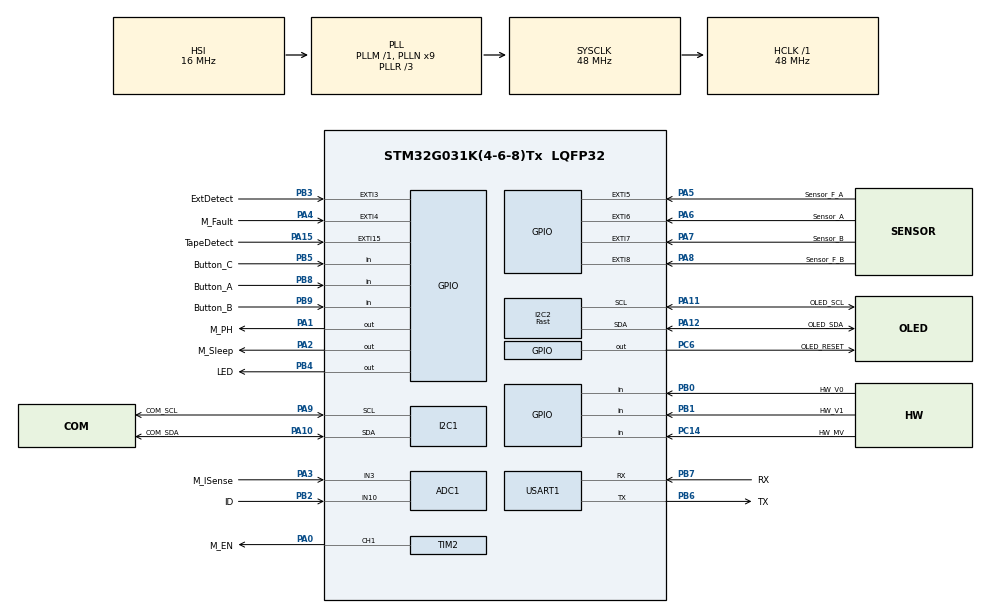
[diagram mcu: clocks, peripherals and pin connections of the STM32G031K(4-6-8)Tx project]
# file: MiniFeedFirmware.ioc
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ADC1.ContinuousConvMode=DISABLE
ADC1.DMAContinuousRequests=ENABLE
ADC1.EOCSelection=ADC_EOC_SEQ_CONV
ADC1.NbrOfConversion=1
ADC1.NbrOfConversionFlag=0
ADC1.SamplingTimeCommon1=ADC_SAMPLETIME_39CYCLES_5
ADC1.SelectedChannel=ADC_CHANNEL_3|ADC_CHANNEL_10|ADC_CHANNEL_TEMPSENSOR|ADC_CHANNEL_VREFINT
ADC1.Sequencer=NOT_FULLY_CONFIGURABLE
ADC1.master=1
CRC.InputDataFormat=CRC_INPUTDATA_FORMAT_WORDS
Dma.ADC1.0.Direction=DMA_PERIPH_TO_MEMORY
Dma.ADC1.0.EventEnable=DISABLE
Dma.ADC1.0.Instance=DMA1_Channel2
Dma.ADC1.0.MemDataAlignment=DMA_MDATAALIGN_WORD
Dma.ADC1.0.MemInc=DMA_MINC_ENABLE
Dma.ADC1.0.Mode=DMA_CIRCULAR
Dma.ADC1.0.PeriphDataAlignment=DMA_PDATAALIGN_WORD
Dma.ADC1.0.PeriphInc=DMA_PINC_DISABLE
Dma.ADC1.0.Polarity=HAL_DMAMUX_REQ_GEN_RISING
Dma.ADC1.0.Priority=DMA_PRIORITY_LOW
Dma.ADC1.0.RequestNumber=1
Dma.ADC1.0.SignalID=NONE
Dma.ADC1.0.SyncEnable=DISABLE
Dma.ADC1.0.SyncPolarity=HAL_DMAMUX_SYNC_NO_EVENT
Dma.ADC1.0.SyncRequestNumber=1
Dma.ADC1.0.SyncSignalID=NONE
Dma.I2C2_TX.1.Direction=DMA_MEMORY_TO_PERIPH
Dma.I2C2_TX.1.EventEnable=DISABLE
Dma.I2C2_TX.1.Instance=DMA1_Channel3
Dma.I2C2_TX.1.MemDataAlignment=DMA_MDATAALIGN_BYTE
Dma.I2C2_TX.1.MemInc=DMA_MINC_ENABLE
Dma.I2C2_TX.1.Mode=DMA_NORMAL
Dma.I2C2_TX.1.PeriphDataAlignment=DMA_PDATAALIGN_BYTE
Dma.I2C2_TX.1.PeriphInc=DMA_PINC_DISABLE
Dma.I2C2_TX.1.Polarity=HAL_DMAMUX_REQ_GEN_RISING
Dma.I2C2_TX.1.Priority=DMA_PRIORITY_LOW
Dma.I2C2_TX.1.RequestNumber=1
Dma.I2C2_TX.1.SignalID=NONE
Dma.I2C2_TX.1.SyncEnable=DISABLE
Dma.I2C2_TX.1.SyncPolarity=HAL_DMAMUX_SYNC_NO_EVENT
Dma.I2C2_TX.1.SyncRequestNumber=1
Dma.I2C2_TX.1.SyncSignalID=NONE
Dma.Request0=ADC1
Dma.Request1=I2C2_TX
I2C1.OwnAddress=0x11
I2C1.Timing=0x20303E5D
I2C2.I2C_Speed_Mode=I2C_Fast
I2C2.Speed=400
I2C2.Timing=0x2010091A
Mcu.Family=STM32G0
Mcu.Name=STM32G031K(4-6-8)Tx
Mcu.Package=LQFP32
NVIC.ADC1_IRQn=true\:0\:0\:false\:false\:true\:true\:true
NVIC.DMA1_Channel2_3_IRQn=true\:0\:0\:false\:false\:true\:false\:true
NVIC.EXTI4_15_IRQn=true\:2\:0\:true\:false\:true\:true\:true
NVIC.I2C1_IRQn=true\:1\:0\:true\:false\:true\:true\:true
NVIC.I2C2_IRQn=true\:0\:0\:false\:false\:true\:true\:true
NVIC.TIM16_IRQn=true\:0\:0\:false\:false\:true\:true\:true
PA0.GPIO_Label=M_EN
PA0.Signal=S_TIM2_CH1
PA1.GPIO_Label=M_PH
PA1.Signal=GPIO_Output
PA10.GPIO_FMPA10=__NULL
PA10.GPIO_Label=COM_SDA
PA10.GPIO_Mode=GPIO_MODE_AF_OD
PA10.GPIO_PuPdOD=GPIO_PULLUP
PA10.GPIO_Speed=GPIO_SPEED_FREQ_LOW
PA10.Mode=I2C
PA10.Signal=I2C1_SDA
PA11\ [PA9].GPIO_Label=OLED_SCL
PA11\ [PA9].Mode=I2C
PA11\ [PA9].Signal=I2C2_SCL
PA12\ [PA10].GPIO_Label=OLED_SDA
PA12\ [PA10].Mode=I2C
PA12\ [PA10].Signal=I2C2_SDA
PA13.GPIO_Label=SWDIO
PA13.Mode=Serial_Wire
PA13.Signal=SYS_SWDIO
PA14-BOOT0.GPIO_Label=SWCLK
PA14-BOOT0.Mode=Serial_Wire
PA14-BOOT0.Signal=SYS_SWCLK
PA15.GPIO_Label=TapeDetect
PA15.GPIO_ModeDefaultEXTI=GPIO_MODE_IT_FALLING
PA15.Signal=GPXTI15
PA2.GPIO_Label=M_Sleep
PA2.GPIO_ModeDefaultOutputPP=GPIO_MODE_OUTPUT_PP
PA2.GPIO_PuPd=GPIO_NOPULL
PA2.PinState=GPIO_PIN_RESET
PA2.Signal=GPIO_Output
PA3.GPIO_Label=M_ISense
PA3.Mode=IN3
PA3.Signal=ADC1_IN3
PA4.GPIO_Label=M_Fault
PA4.GPIO_ModeDefaultEXTI=GPIO_MODE_IT_FALLING
PA4.Signal=GPXTI4
PA5.GPIO_Label=Sensor_F_A
PA5.GPIO_ModeDefaultEXTI=GPIO_MODE_IT_RISING_FALLING
PA5.Signal=GPXTI5
PA6.GPIO_Label=Sensor_A
PA6.GPIO_ModeDefaultEXTI=GPIO_MODE_IT_RISING_FALLING
PA6.Signal=GPXTI6
PA7.GPIO_Label=Sensor_B
PA7.GPIO_ModeDefaultEXTI=GPIO_MODE_IT_RISING_FALLING
PA7.Signal=GPXTI7
PA8.GPIO_Label=Sensor_F_B
PA8.GPIO_ModeDefaultEXTI=GPIO_MODE_IT_RISING_FALLING
PA8.Signal=GPXTI8
PA9.GPIO_FMPA9=__NULL
PA9.GPIO_Label=COM_SCL
PA9.GPIO_Mode=GPIO_MODE_AF_OD
PA9.GPIO_PuPdOD=GPIO_PULLUP
PA9.GPIO_Speed=GPIO_SPEED_FREQ_LOW
PA9.Mode=I2C
PA9.Signal=I2C1_SCL
PB0.GPIO_Label=HW_V0
PB0.GPIO_PuPd=GPIO_PULLUP
PB0.Signal=GPIO_Input
PB1.GPIO_Label=HW_V1
PB1.GPIO_PuPd=GPIO_PULLUP
PB1.Signal=GPIO_Input
PB2.GPIO_Label=ID
PB2.Mode=IN10
PB2.Signal=ADC1_IN10
PB3.GPIO_Label=ExtDetect
PB3.GPIO_ModeDefaultEXTI=GPIO_MODE_IT_FALLING
PB3.Signal=GPXTI3
PB4.GPIO_Label=LED
PB4.PinState=GPIO_PIN_RESET
PB4.Signal=GPIO_Output
PB5.GPIO_Label=Button_C
PB5.Signal=GPIO_Input
PB6.GPIO_Label=TX
PB6.Mode=Asynchronous
PB6.Signal=USART1_TX
PB7.GPIO_Label=RX
PB7.Mode=Asynchronous
PB7.Signal=USART1_RX
PB8.GPIO_Label=Button_A
PB8.Signal=GPIO_Input
PB9.GPIO_Label=Button_B
PB9.Signal=GPIO_Input
PC14-OSC32_IN\ (PC14).GPIO_Label=HW_MV
PC14-OSC32_IN\ (PC14).GPIO_PuPd=GPIO_PULLUP
PC14-OSC32_IN\ (PC14).Signal=GPIO_Input
PC6.GPIO_Label=OLED_RESET
PC6.PinState=GPIO_PIN_SET
PC6.Signal=GPIO_Output
ProjectManager.HeapSize=0x200
ProjectManager.StackSize=0x400
ProjectManager.TargetToolchain=STM32CubeIDE
RCC.ADCFreq_Value=48000000
RCC.AHBFreq_Value=48000000
RCC.CortexFreq_Value=48000000
RCC.EXTERNAL_CLOCK_VALUE=12288000
RCC.HCLKFreq_Value=48000000
RCC.HSE_VALUE=8000000
RCC.HSI_VALUE=16000000
RCC.LSE_VALUE=32768
RCC.PLLN=9
RCC.PLLP=RCC_PLLP_DIV3
RCC.PLLR=RCC_PLLR_DIV3
RCC.SYSCLKFreq_VALUE=48000000
RCC.SYSCLKSource=RCC_SYSCLKSOURCE_PLLCLK
RCC.VCOOutputFreq_Value=144000000
SH.S_TIM2_CH1.0=TIM2_CH1,PWM Generation1 CH1
SYS.PVDLevel=PWR_PVDLEVEL_6
TIM16.AutoReloadPreload=TIM_AUTORELOAD_PRELOAD_DISABLE
TIM16.Period=1000
TIM16.Prescaler=48000 - 1
TIM2.Channel-PWM\ Generation1\ CH1=TIM_CHANNEL_1
TIM2.ClockDivision=TIM_CLOCKDIVISION_DIV1
TIM2.Period=255
TIM2.Prescaler=4
TIM2.Pulse-PWM\ Generation1\ CH1=295
USART1.VirtualMode-Asynchronous=VM_ASYNC
USART1.WordLength=WORDLENGTH_8B
VP_ADC1_TempSens_Input.Mode=IN-TempSens
VP_ADC1_Vref_Input.Mode=IN-Vrefint
VP_CRC_VS_CRC.Mode=CRC_Activate
VP_RTC_VS_RTC_Activate.Mode=RTC_Enabled
VP_SYS_V_PVD_IN.Mode=Mode_PVD_Int
VP_TIM16_VS_ClockSourceINT.Mode=Enable_Timer
VP_TIM16_VS_OPM.Mode=OPM_bit
VP_TIM2_VS_ClockSourceINT.Mode=Internal
VP_WWDG_VS_WWDG.Mode=WWDG_Activate
WWDG.Counter=127
WWDG.Prescaler=WWDG_PRESCALER_16
WWDG.Window=127
board=custom

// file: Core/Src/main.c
/* USER CODE BEGIN Header */
/**
  ******************************************************************************
  * @file           : main.c
  * @brief          : Main program body
  ******************************************************************************
  * @attention
  *
  * <h2><center>&copy; Copyright (c) 2021 STMicroelectronics.
  * All rights reserved.</center></h2>
  *
  * This software component is licensed by ST under BSD 3-Clause license,
  * the "License"; You may not use this file except in compliance with the
  * License. You may obtain a copy of the License at:
  *                        opensource.org/licenses/BSD-3-Clause
  *
  ******************************************************************************
  */
/* USER CODE END Header */
#include "main.h"

/* USER CODE BEGIN Includes */
#include "hardware.h"
#include "drive.h"
#include "persist.h"
#include "crc.h"
#include "com.h"
/* USER CODE END Includes */

ADC_HandleTypeDef hadc1;
DMA_HandleTypeDef hdma_adc1;

CRC_HandleTypeDef hcrc;

I2C_HandleTypeDef hi2c1;
I2C_HandleTypeDef hi2c2;
DMA_HandleTypeDef hdma_i2c2_tx;

RTC_HandleTypeDef hrtc;

TIM_HandleTypeDef htim2;
TIM_HandleTypeDef htim16;

UART_HandleTypeDef huart1;

WWDG_HandleTypeDef hwwdg;

/* USER CODE BEGIN PV */
uint8_t startupDone = 0;
/* USER CODE END PV */

void SystemClock_Config(void);
static void MX_GPIO_Init(void);
static void MX_DMA_Init(void);
static void MX_ADC1_Init(void);
static void MX_CRC_Init(void);
static void MX_I2C1_Init(void);
static void MX_I2C2_Init(void);
static void MX_USART1_UART_Init(void);
static void MX_TIM2_Init(void);
static void MX_TIM16_Init(void);
static void MX_WWDG_Init(void);
static void MX_RTC_Init(void);

/* USER CODE BEGIN 0 */
void HAL_TIM_PeriodElapsedCallback(TIM_HandleTypeDef *htim)
{
  // Check which version of the timer triggered this callback and toggle LED
  if (htim == &htim16 )
  {
	HAL_TIM_Base_Stop_IT(&htim16);
    DRV_ProcessTimer();
  }
}

/* USER CODE END 0 */

int main(void)
{

  /* MCU Configuration--------------------------------------------------------*/

  /* Reset of all peripherals, Initializes the Flash interface and the Systick. */
  HAL_Init();

  /* USER CODE BEGIN Init */
  uint8_t wdReset = __HAL_RCC_GET_FLAG(RCC_FLAG_WWDGRST);
  __HAL_RCC_CLEAR_RESET_FLAGS();
  /* USER CODE END Init */

  /* Configure the system clock */
  SystemClock_Config();

  /* Initialize all configured peripherals */
  MX_GPIO_Init();
  MX_DMA_Init();
  MX_ADC1_Init();
  MX_CRC_Init();
  MX_I2C1_Init();
  MX_I2C2_Init();
  MX_USART1_UART_Init();
  MX_TIM2_Init();
  MX_TIM16_Init();
  MX_WWDG_Init();
  MX_RTC_Init();
  /* USER CODE BEGIN 2 */
  BACKUP_Setup(&hrtc);
  HW_Setup();
  CRC_Start(&hcrc);
  PERSIST_Setup(&hi2c2);
  DISP_Setup(&hi2c2);
  HW_CheckForBootloader(wdReset);
  EEPROM_CheckForReInit();
  UI_ShowBoot();
  DISP_SetBrightness(PERSIST_GetDisplayBrightness());
  if (wdReset) ERROR_SetError(ERROR_WDT);
  ANALOG_Setup(&hadc1);
  DRV_Start(&htim2, &htim16);
  HAL_Delay(1000);
  startupDone = 1;
  MX_WWDG_Init();
  ANALOG_ForceMultiSample(ANALOG_OVERSAMPLE);
  COM_Setup(&hi2c1);
  STATUS_SetReady();
  uint32_t oldTime;
  /* USER CODE END 2 */

  /* Infinite loop */
  /* USER CODE BEGIN WHILE */
  while (1)
  {
	 oldTime = HAL_GetTick();
	 HW_ProcessBootloaderSchedule();
	 HAL_WWDG_Refresh(&hwwdg);
	 UI_Process();
	 while (HAL_GetTick() - oldTime < 50) {
		 asm("NOP");
	 }
    /* USER CODE END WHILE */

  }
}

void SystemClock_Config(void)
{
  RCC_OscInitTypeDef RCC_OscInitStruct = {0};
  RCC_ClkInitTypeDef RCC_ClkInitStruct = {0};
  RCC_PeriphCLKInitTypeDef PeriphClkInit = {0};

  /** Configure the main internal regulator output voltage
  */
  HAL_PWREx_ControlVoltageScaling(PWR_REGULATOR_VOLTAGE_SCALE1);
  /** Initializes the RCC Oscillators according to the specified parameters
  * in the RCC_OscInitTypeDef structure.
  */
  RCC_OscInitStruct.OscillatorType = RCC_OSCILLATORTYPE_HSI|RCC_OSCILLATORTYPE_LSI;
  RCC_OscInitStruct.HSIState = RCC_HSI_ON;
  RCC_OscInitStruct.HSIDiv = RCC_HSI_DIV1;
  RCC_OscInitStruct.HSICalibrationValue = RCC_HSICALIBRATION_DEFAULT;
  RCC_OscInitStruct.LSIState = RCC_LSI_ON;
  RCC_OscInitStruct.PLL.PLLState = RCC_PLL_ON;
  RCC_OscInitStruct.PLL.PLLSource = RCC_PLLSOURCE_HSI;
  RCC_OscInitStruct.PLL.PLLM = RCC_PLLM_DIV1;
  RCC_OscInitStruct.PLL.PLLN = 9;
  RCC_OscInitStruct.PLL.PLLP = RCC_PLLP_DIV3;
  RCC_OscInitStruct.PLL.PLLQ = RCC_PLLQ_DIV2;
  RCC_OscInitStruct.PLL.PLLR = RCC_PLLR_DIV3;
  if (HAL_RCC_OscConfig(&RCC_OscInitStruct) != HAL_OK)
  {
    Error_Handler();
  }
  /** Initializes the CPU, AHB and APB buses clocks
  */
  RCC_ClkInitStruct.ClockType = RCC_CLOCKTYPE_HCLK|RCC_CLOCKTYPE_SYSCLK
                              |RCC_CLOCKTYPE_PCLK1;
  RCC_ClkInitStruct.SYSCLKSource = RCC_SYSCLKSOURCE_PLLCLK;
  RCC_ClkInitStruct.AHBCLKDivider = RCC_SYSCLK_DIV1;
  RCC_ClkInitStruct.APB1CLKDivider = RCC_HCLK_DIV1;

  if (HAL_RCC_ClockConfig(&RCC_ClkInitStruct, FLASH_LATENCY_1) != HAL_OK)
  {
    Error_Handler();
  }
  /** Initializes the peripherals clocks
  */
  PeriphClkInit.PeriphClockSelection = RCC_PERIPHCLK_RTC|RCC_PERIPHCLK_USART1
                              |RCC_PERIPHCLK_I2C1|RCC_PERIPHCLK_ADC;
  PeriphClkInit.Usart1ClockSelection = RCC_USART1CLKSOURCE_PCLK1;
  PeriphClkInit.I2c1ClockSelection = RCC_I2C1CLKSOURCE_PCLK1;
  PeriphClkInit.AdcClockSelection = RCC_ADCCLKSOURCE_SYSCLK;
  PeriphClkInit.RTCClockSelection = RCC_RTCCLKSOURCE_LSI;

  if (HAL_RCCEx_PeriphCLKConfig(&PeriphClkInit) != HAL_OK)
  {
    Error_Handler();
  }
}

static void MX_ADC1_Init(void)
{

  ADC_ChannelConfTypeDef sConfig = {0};

  /** Configure the global features of the ADC (Clock, Resolution, Data Alignment and number of conversion)
  */
  hadc1.Instance = ADC1;
  hadc1.Init.ClockPrescaler = ADC_CLOCK_SYNC_PCLK_DIV2;
  hadc1.Init.Resolution = ADC_RESOLUTION_12B;
  hadc1.Init.DataAlign = ADC_DATAALIGN_RIGHT;
  hadc1.Init.ScanConvMode = ADC_SCAN_SEQ_FIXED;
  hadc1.Init.EOCSelection = ADC_EOC_SEQ_CONV;
  hadc1.Init.LowPowerAutoWait = DISABLE;
  hadc1.Init.LowPowerAutoPowerOff = DISABLE;
  hadc1.Init.ContinuousConvMode = DISABLE;
  hadc1.Init.NbrOfConversion = 1;
  hadc1.Init.DiscontinuousConvMode = DISABLE;
  hadc1.Init.ExternalTrigConv = ADC_SOFTWARE_START;
  hadc1.Init.ExternalTrigConvEdge = ADC_EXTERNALTRIGCONVEDGE_NONE;
  hadc1.Init.DMAContinuousRequests = ENABLE;
  hadc1.Init.Overrun = ADC_OVR_DATA_PRESERVED;
  hadc1.Init.SamplingTimeCommon1 = ADC_SAMPLETIME_39CYCLES_5;
  hadc1.Init.OversamplingMode = DISABLE;
  hadc1.Init.TriggerFrequencyMode = ADC_TRIGGER_FREQ_HIGH;
  if (HAL_ADC_Init(&hadc1) != HAL_OK)
  {
    Error_Handler();
  }
  /** Configure Regular Channel
  */
  sConfig.Channel = ADC_CHANNEL_3;
  sConfig.Rank = ADC_RANK_CHANNEL_NUMBER;
  if (HAL_ADC_ConfigChannel(&hadc1, &sConfig) != HAL_OK)
  {
    Error_Handler();
  }
  /** Configure Regular Channel
  */
  sConfig.Channel = ADC_CHANNEL_10;
  sConfig.Rank = ADC_RANK_CHANNEL_NUMBER;
  if (HAL_ADC_ConfigChannel(&hadc1, &sConfig) != HAL_OK)
  {
    Error_Handler();
  }
  /** Configure Regular Channel
  */
  sConfig.Channel = ADC_CHANNEL_TEMPSENSOR;
  sConfig.Rank = ADC_RANK_CHANNEL_NUMBER;
  if (HAL_ADC_ConfigChannel(&hadc1, &sConfig) != HAL_OK)
  {
    Error_Handler();
  }
  /** Configure Regular Channel
  */
  sConfig.Channel = ADC_CHANNEL_VREFINT;
  sConfig.Rank = ADC_RANK_CHANNEL_NUMBER;
  if (HAL_ADC_ConfigChannel(&hadc1, &sConfig) != HAL_OK)
  {
    Error_Handler();
  }

}

static void MX_CRC_Init(void)
{

  hcrc.Instance = CRC;
  hcrc.Init.DefaultPolynomialUse = DEFAULT_POLYNOMIAL_ENABLE;
  hcrc.Init.DefaultInitValueUse = DEFAULT_INIT_VALUE_ENABLE;
  hcrc.Init.InputDataInversionMode = CRC_INPUTDATA_INVERSION_NONE;
  hcrc.Init.OutputDataInversionMode = CRC_OUTPUTDATA_INVERSION_DISABLE;
  hcrc.InputDataFormat = CRC_INPUTDATA_FORMAT_WORDS;
  if (HAL_CRC_Init(&hcrc) != HAL_OK)
  {
    Error_Handler();
  }

}

static void MX_I2C1_Init(void)
{

  hi2c1.Instance = I2C1;
  hi2c1.Init.Timing = 0x20303E5D;
  hi2c1.Init.OwnAddress1 = 34;
  hi2c1.Init.AddressingMode = I2C_ADDRESSINGMODE_7BIT;
  hi2c1.Init.DualAddressMode = I2C_DUALADDRESS_DISABLE;
  hi2c1.Init.OwnAddress2 = 0;
  hi2c1.Init.OwnAddress2Masks = I2C_OA2_NOMASK;
  hi2c1.Init.GeneralCallMode = I2C_GENERALCALL_DISABLE;
  hi2c1.Init.NoStretchMode = I2C_NOSTRETCH_DISABLE;
  if (HAL_I2C_Init(&hi2c1) != HAL_OK)
  {
    Error_Handler();
  }
  /** Configure Analogue filter
  */
  if (HAL_I2CEx_ConfigAnalogFilter(&hi2c1, I2C_ANALOGFILTER_ENABLE) != HAL_OK)
  {
    Error_Handler();
  }
  /** Configure Digital filter
  */
  if (HAL_I2CEx_ConfigDigitalFilter(&hi2c1, 0) != HAL_OK)
  {
    Error_Handler();
  }

}

static void MX_I2C2_Init(void)
{

  hi2c2.Instance = I2C2;
  hi2c2.Init.Timing = 0x2010091A;
  hi2c2.Init.OwnAddress1 = 0;
  hi2c2.Init.AddressingMode = I2C_ADDRESSINGMODE_7BIT;
  hi2c2.Init.DualAddressMode = I2C_DUALADDRESS_DISABLE;
  hi2c2.Init.OwnAddress2 = 0;
  hi2c2.Init.OwnAddress2Masks = I2C_OA2_NOMASK;
  hi2c2.Init.GeneralCallMode = I2C_GENERALCALL_DISABLE;
  hi2c2.Init.NoStretchMode = I2C_NOSTRETCH_DISABLE;
  if (HAL_I2C_Init(&hi2c2) != HAL_OK)
  {
    Error_Handler();
  }
  /** Configure Analogue filter
  */
  if (HAL_I2CEx_ConfigAnalogFilter(&hi2c2, I2C_ANALOGFILTER_ENABLE) != HAL_OK)
  {
    Error_Handler();
  }
  /** Configure Digital filter
  */
  if (HAL_I2CEx_ConfigDigitalFilter(&hi2c2, 0) != HAL_OK)
  {
    Error_Handler();
  }

}

static void MX_RTC_Init(void)
{

  /** Initialize RTC Only
  */
  hrtc.Instance = RTC;
  hrtc.Init.HourFormat = RTC_HOURFORMAT_24;
  hrtc.Init.AsynchPrediv = 127;
  hrtc.Init.SynchPrediv = 255;
  hrtc.Init.OutPut = RTC_OUTPUT_DISABLE;
  hrtc.Init.OutPutRemap = RTC_OUTPUT_REMAP_NONE;
  hrtc.Init.OutPutPolarity = RTC_OUTPUT_POLARITY_HIGH;
  hrtc.Init.OutPutType = RTC_OUTPUT_TYPE_OPENDRAIN;
  hrtc.Init.OutPutPullUp = RTC_OUTPUT_PULLUP_NONE;
  if (HAL_RTC_Init(&hrtc) != HAL_OK)
  {
    Error_Handler();
  }

}

static void MX_TIM2_Init(void)
{

  TIM_ClockConfigTypeDef sClockSourceConfig = {0};
  TIM_MasterConfigTypeDef sMasterConfig = {0};
  TIM_OC_InitTypeDef sConfigOC = {0};

  htim2.Instance = TIM2;
  htim2.Init.Prescaler = 4;
  htim2.Init.CounterMode = TIM_COUNTERMODE_UP;
  htim2.Init.Period = 255;
  htim2.Init.ClockDivision = TIM_CLOCKDIVISION_DIV1;
  htim2.Init.AutoReloadPreload = TIM_AUTORELOAD_PRELOAD_DISABLE;
  if (HAL_TIM_Base_Init(&htim2) != HAL_OK)
  {
    Error_Handler();
  }
  sClockSourceConfig.ClockSource = TIM_CLOCKSOURCE_INTERNAL;
  if (HAL_TIM_ConfigClockSource(&htim2, &sClockSourceConfig) != HAL_OK)
  {
    Error_Handler();
  }
  if (HAL_TIM_PWM_Init(&htim2) != HAL_OK)
  {
    Error_Handler();
  }
  sMasterConfig.MasterOutputTrigger = TIM_TRGO_RESET;
  sMasterConfig.MasterSlaveMode = TIM_MASTERSLAVEMODE_DISABLE;
  if (HAL_TIMEx_MasterConfigSynchronization(&htim2, &sMasterConfig) != HAL_OK)
  {
    Error_Handler();
  }
  sConfigOC.OCMode = TIM_OCMODE_PWM1;
  sConfigOC.Pulse = 295;
  sConfigOC.OCPolarity = TIM_OCPOLARITY_HIGH;
  sConfigOC.OCFastMode = TIM_OCFAST_DISABLE;
  if (HAL_TIM_PWM_ConfigChannel(&htim2, &sConfigOC, TIM_CHANNEL_1) != HAL_OK)
  {
    Error_Handler();
  }
  HAL_TIM_MspPostInit(&htim2);

}

static void MX_TIM16_Init(void)
{

  htim16.Instance = TIM16;
  htim16.Init.Prescaler = 48000 - 1;
  htim16.Init.CounterMode = TIM_COUNTERMODE_UP;
  htim16.Init.Period = 1000;
  htim16.Init.ClockDivision = TIM_CLOCKDIVISION_DIV1;
  htim16.Init.RepetitionCounter = 0;
  htim16.Init.AutoReloadPreload = TIM_AUTORELOAD_PRELOAD_DISABLE;
  if (HAL_TIM_Base_Init(&htim16) != HAL_OK)
  {
    Error_Handler();
  }
  if (HAL_TIM_OnePulse_Init(&htim16, TIM_OPMODE_SINGLE) != HAL_OK)
  {
    Error_Handler();
  }

}

static void MX_USART1_UART_Init(void)
{

  huart1.Instance = USART1;
  huart1.Init.BaudRate = 115200;
  huart1.Init.WordLength = UART_WORDLENGTH_8B;
  huart1.Init.StopBits = UART_STOPBITS_1;
  huart1.Init.Parity = UART_PARITY_NONE;
  huart1.Init.Mode = UART_MODE_TX_RX;
  huart1.Init.HwFlowCtl = UART_HWCONTROL_NONE;
  huart1.Init.OverSampling = UART_OVERSAMPLING_16;
  huart1.Init.OneBitSampling = UART_ONE_BIT_SAMPLE_DISABLE;
  huart1.Init.ClockPrescaler = UART_PRESCALER_DIV1;
  huart1.AdvancedInit.AdvFeatureInit = UART_ADVFEATURE_NO_INIT;
  if (HAL_UART_Init(&huart1) != HAL_OK)
  {
    Error_Handler();
  }
  if (HAL_UARTEx_SetTxFifoThreshold(&huart1, UART_TXFIFO_THRESHOLD_1_8) != HAL_OK)
  {
    Error_Handler();
  }
  if (HAL_UARTEx_SetRxFifoThreshold(&huart1, UART_RXFIFO_THRESHOLD_1_8) != HAL_OK)
  {
    Error_Handler();
  }
  if (HAL_UARTEx_DisableFifoMode(&huart1) != HAL_OK)
  {
    Error_Handler();
  }

}

static void MX_WWDG_Init(void)
{

  /* USER CODE BEGIN WWDG_Init 0 */
#ifdef CONFIG_ENABLE_WDT
	if (startupDone == 0) return;
  /* USER CODE END WWDG_Init 0 */

  hwwdg.Instance = WWDG;
  hwwdg.Init.Prescaler = WWDG_PRESCALER_16;
  hwwdg.Init.Window = 127;
  hwwdg.Init.Counter = 127;
  hwwdg.Init.EWIMode = WWDG_EWI_DISABLE;
  if (HAL_WWDG_Init(&hwwdg) != HAL_OK)
  {
    Error_Handler();
  }
  /* USER CODE BEGIN WWDG_Init 2 */
#endif
  /* USER CODE END WWDG_Init 2 */

}

static void MX_DMA_Init(void)
{

  /* DMA controller clock enable */
  __HAL_RCC_DMA1_CLK_ENABLE();

  /* DMA interrupt init */
  /* DMA1_Channel2_3_IRQn interrupt configuration */
  HAL_NVIC_SetPriority(DMA1_Channel2_3_IRQn, 0, 0);
  HAL_NVIC_EnableIRQ(DMA1_Channel2_3_IRQn);

}

static void MX_GPIO_Init(void)
{
  GPIO_InitTypeDef GPIO_InitStruct = {0};

  /* GPIO Ports Clock Enable */
  __HAL_RCC_GPIOB_CLK_ENABLE();
  __HAL_RCC_GPIOC_CLK_ENABLE();
  __HAL_RCC_GPIOA_CLK_ENABLE();

  /*Configure GPIO pin Output Level */
  HAL_GPIO_WritePin(GPIOA, M_PH_Pin|M_Sleep_Pin, GPIO_PIN_RESET);

  /*Configure GPIO pin Output Level */
  HAL_GPIO_WritePin(OLED_RESET_GPIO_Port, OLED_RESET_Pin, GPIO_PIN_SET);

  /*Configure GPIO pin Output Level */
  HAL_GPIO_WritePin(LED_GPIO_Port, LED_Pin, GPIO_PIN_RESET);

  /*Configure GPIO pins : Button_B_Pin Button_C_Pin Button_A_Pin */
  GPIO_InitStruct.Pin = Button_B_Pin|Button_C_Pin|Button_A_Pin;
  GPIO_InitStruct.Mode = GPIO_MODE_INPUT;
  GPIO_InitStruct.Pull = GPIO_NOPULL;
  HAL_GPIO_Init(GPIOB, &GPIO_InitStruct);

  /*Configure GPIO pin : HW_MV_Pin */
  GPIO_InitStruct.Pin = HW_MV_Pin;
  GPIO_InitStruct.Mode = GPIO_MODE_INPUT;
  GPIO_InitStruct.Pull = GPIO_PULLUP;
  HAL_GPIO_Init(HW_MV_GPIO_Port, &GPIO_InitStruct);

  /*Configure GPIO pins : M_PH_Pin M_Sleep_Pin */
  GPIO_InitStruct.Pin = M_PH_Pin|M_Sleep_Pin;
  GPIO_InitStruct.Mode = GPIO_MODE_OUTPUT_PP;
  GPIO_InitStruct.Pull = GPIO_NOPULL;
  GPIO_InitStruct.Speed = GPIO_SPEED_FREQ_LOW;
  HAL_GPIO_Init(GPIOA, &GPIO_InitStruct);

  /*Configure GPIO pins : M_Fault_Pin TapeDetect_Pin */
  GPIO_InitStruct.Pin = M_Fault_Pin|TapeDetect_Pin;
  GPIO_InitStruct.Mode = GPIO_MODE_IT_FALLING;
  GPIO_InitStruct.Pull = GPIO_NOPULL;
  HAL_GPIO_Init(GPIOA, &GPIO_InitStruct);

  /*Configure GPIO pins : Sensor_F_A_Pin Sensor_A_Pin Sensor_B_Pin Sensor_F_B_Pin */
  GPIO_InitStruct.Pin = Sensor_F_A_Pin|Sensor_A_Pin|Sensor_B_Pin|Sensor_F_B_Pin;
  GPIO_InitStruct.Mode = GPIO_MODE_IT_RISING_FALLING;
  GPIO_InitStruct.Pull = GPIO_NOPULL;
  HAL_GPIO_Init(GPIOA, &GPIO_InitStruct);

  /*Configure GPIO pins : HW_V0_Pin HW_V1_Pin */
  GPIO_InitStruct.Pin = HW_V0_Pin|HW_V1_Pin;
  GPIO_InitStruct.Mode = GPIO_MODE_INPUT;
  GPIO_InitStruct.Pull = GPIO_PULLUP;
  HAL_GPIO_Init(GPIOB, &GPIO_InitStruct);

  /*Configure GPIO pin : OLED_RESET_Pin */
  GPIO_InitStruct.Pin = OLED_RESET_Pin;
  GPIO_InitStruct.Mode = GPIO_MODE_OUTPUT_PP;
  GPIO_InitStruct.Pull = GPIO_NOPULL;
  GPIO_InitStruct.Speed = GPIO_SPEED_FREQ_LOW;
  HAL_GPIO_Init(OLED_RESET_GPIO_Port, &GPIO_InitStruct);

  /*Configure GPIO pin : ExtDetect_Pin */
  GPIO_InitStruct.Pin = ExtDetect_Pin;
  GPIO_InitStruct.Mode = GPIO_MODE_IT_FALLING;
  GPIO_InitStruct.Pull = GPIO_NOPULL;
  HAL_GPIO_Init(ExtDetect_GPIO_Port, &GPIO_InitStruct);

  /*Configure GPIO pin : LED_Pin */
  GPIO_InitStruct.Pin = LED_Pin;
  GPIO_InitStruct.Mode = GPIO_MODE_OUTPUT_PP;
  GPIO_InitStruct.Pull = GPIO_NOPULL;
  GPIO_InitStruct.Speed = GPIO_SPEED_FREQ_LOW;
  HAL_GPIO_Init(LED_GPIO_Port, &GPIO_InitStruct);

  /* EXTI interrupt init*/
  HAL_NVIC_SetPriority(EXTI4_15_IRQn, 2, 0);
  HAL_NVIC_EnableIRQ(EXTI4_15_IRQn);

}

void Error_Handler(void)
{
  __disable_irq();
  while (1)
  {
  }
}

/************************ (C) COPYRIGHT STMicroelectronics *****END OF FILE****/
